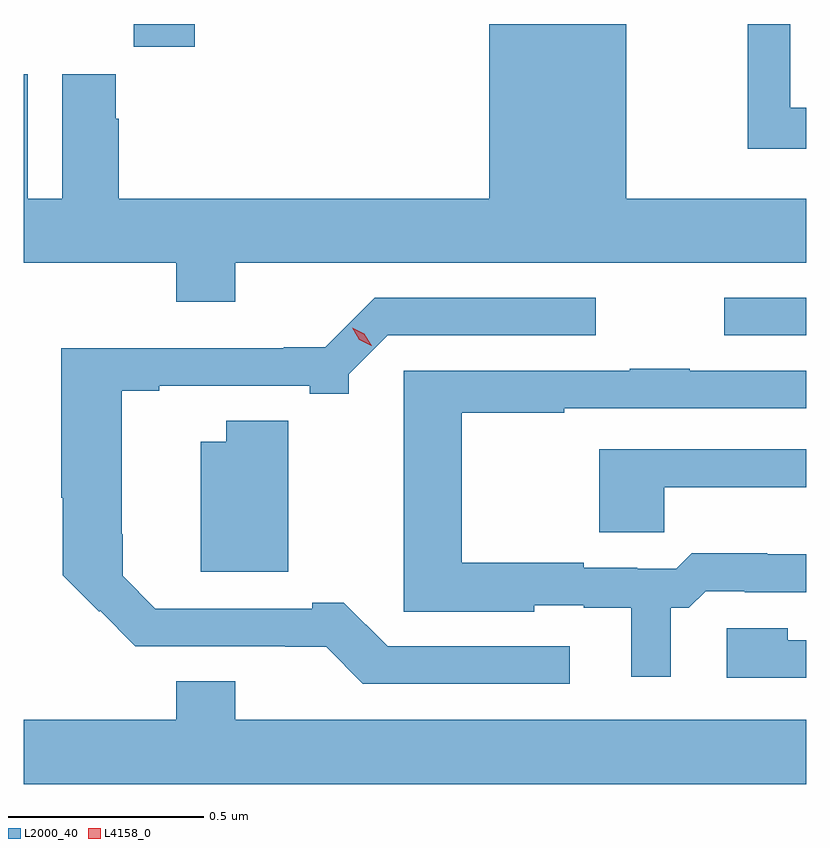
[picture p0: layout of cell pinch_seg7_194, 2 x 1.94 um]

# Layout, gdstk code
import gdstk
lib = gdstk.Library(unit=1e-6, precision=1e-09)
def R(c, l, rs):  # rectangles x0, y0, x1, y1
    for r in rs: c.add(gdstk.rectangle(r[:2], r[2:], *l))
def P(c, l, *ps):  # polygons
    for p in ps: c.add(gdstk.Polygon(p, *l))
L2000_40 = (2000, 40)
L4158_0 = (4158, 0)

pinch_seg7_194 = lib.new_cell('pinch_seg7_194')
R(pinch_seg7_194, L2000_40, [(1132.539,1016.415,1132.748,1016.511), (1131.029,1017.153,1131.185,1017.211)])
P(pinch_seg7_194, L2000_40, [(1131.289,1016.6),(1132.748,1016.6),(1132.748,1016.764),(1132.288,1016.764),(1132.288,1017.211),(1131.938,1017.211),(1131.938,1016.764),(1130.99,1016.764),(1130.99,1016.969),(1130.983,1016.969),(1130.983,1017.082),(1130.846,1017.082),(1130.846,1016.764),(1130.758,1016.764),(1130.758,1017.082),(1130.748,1017.082),(1130.748,1016.6),(1131.137,1016.6),(1131.137,1016.501),(1131.289,1016.501)],
  [(1132.748,1016.997),(1132.707,1016.997),(1132.707,1017.211),(1132.599,1017.211),(1132.599,1016.892),(1132.748,1016.892)],
  [(1132.144,1015.62),(1131.678,1015.62),(1131.566,1015.732),(1131.485,1015.732),(1131.485,1015.716),(1131.084,1015.716),(1131.001,1015.8),(1131.001,1015.906),(1130.998,1015.906),(1130.998,1016.274),(1131.094,1016.274),(1131.094,1016.286),(1131.479,1016.286),(1131.479,1016.266),(1131.579,1016.266),(1131.579,1016.316),(1131.678,1016.415),(1132.21,1016.415),(1132.21,1016.511),(1131.645,1016.511),(1131.518,1016.384),(1131.413,1016.384),(1131.413,1016.382),(1130.843,1016.382),(1130.843,1016),(1130.848,1016),(1130.848,1015.802),(1130.941,1015.709),(1130.943,1015.711),(1131.033,1015.62),(1131.416,1015.62),(1131.416,1015.619),(1131.521,1015.619),(1131.615,1015.524),(1132.144,1015.524)],
  [(1132.402,1015.718),(1132.448,1015.718),(1132.491,1015.761),(1132.591,1015.761),(1132.591,1015.758),(1132.748,1015.758),(1132.748,1015.855),(1132.649,1015.855),(1132.649,1015.858),(1132.456,1015.858),(1132.416,1015.818),(1132.316,1015.818),(1132.316,1015.821),(1132.179,1015.821),(1132.179,1015.834),(1131.867,1015.834),(1131.867,1016.217),(1132.13,1016.217),(1132.13,1016.229),(1132.748,1016.229),(1132.748,1016.325),(1132.451,1016.325),(1132.451,1016.33),(1132.297,1016.33),(1132.297,1016.325),(1131.719,1016.325),(1131.719,1015.709),(1132.053,1015.709),(1132.053,1015.725),(1132.179,1015.725),(1132.179,1015.718),(1132.301,1015.718),(1132.301,1015.542),(1132.402,1015.542)],
  [(1131.424,1016.197),(1131.266,1016.197),(1131.266,1016.143),(1131.2,1016.143),(1131.2,1015.811),(1131.424,1015.811)],
  [(1132.385,1016.027),(1132.748,1016.027),(1132.748,1016.124),(1132.219,1016.124),(1132.219,1015.911),(1132.385,1015.911)],
  [(1132.748,1015.635),(1132.701,1015.635),(1132.701,1015.666),(1132.545,1015.666),(1132.545,1015.539),(1132.748,1015.539)],
  [(1132.748,1015.432),(1131.289,1015.432),(1131.289,1015.531),(1131.137,1015.531),(1131.137,1015.432),(1130.748,1015.432),(1130.748,1015.268),(1132.748,1015.268)])
P(pinch_seg7_194, L4158_0, [(1131.636,1016.389),(1131.605,1016.404),(1131.587,1016.434),(1131.587,1016.434),(1131.587,1016.434),(1131.618,1016.419),(1131.637,1016.389),(1131.637,1016.389)])

lib.write_gds('pinch_seg7_194.gds')
